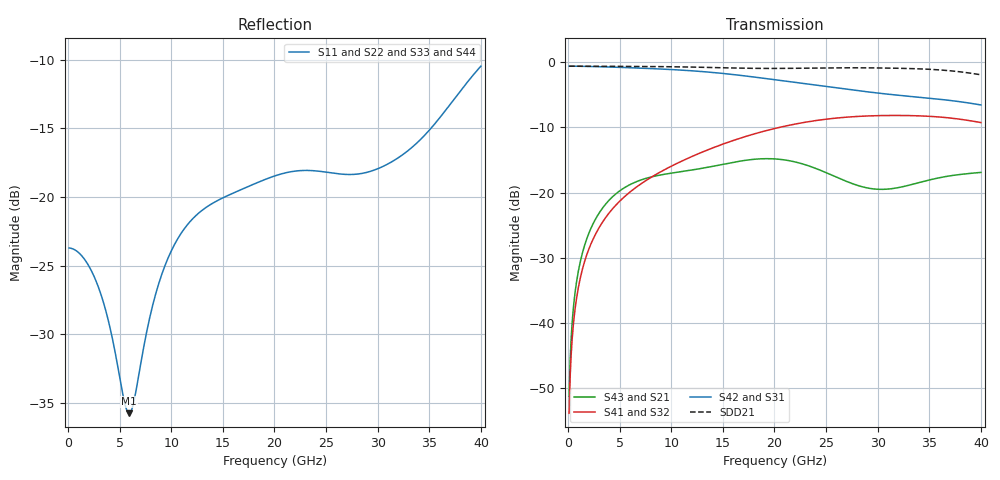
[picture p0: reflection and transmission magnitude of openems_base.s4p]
! E_s8_L1L8_p800_round_g2: pair L1→L8, pitch 0.8 mm, two round antipads, 2 GND vias
! stackup: 8-layer 1.6 mm FR-4 (generic)
! ports: 1 P near, 2 N near, 3 P far, 4 N far
! openEMS 0.37.0, staircase, base mesh (dfine 0.035 mm), 737685 cells
# Hz S RI R 50
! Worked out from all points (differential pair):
!   400 points, 100 MHz to 40 GHz, reference 50 ohm
!   strongest paths, dB at 100 MHz, 10.1 GHz, 20.1 GHz, 30.1 GHz, 40 GHz:
!     S42: -0.6, -1.1, -2.7, -4.7, -6.5
!     S31: -0.6, -1.1, -2.7, -4.7, -6.5
!     S41: -53.9, -15.9, -10.1, -8.2, -9.3
!     S32: -53.9, -15.9, -10.1, -8.2, -9.3
!     S43: -51.3, -17.0, -14.8, -19.5, -16.9
!     S21: -51.3, -17.0, -14.8, -19.5, -16.9
!   taken as a pair (ports 2,1 in; 4,3 out), SDD21 dB: -0.6, -0.7, -0.9, -0.9, -1.9
!   lowest |S11| = -35.8 dB at 5.9 GHz (marker M1), VSWR 1.03, Z = 48.8 + j1.1 ohm
!   |S11| at or under -10 dB: start of sweep to end of sweep
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1e8  -0.0651 0.00217  0.00109 0.00249  0.9336 -0.0363  0.000613 -0.00192
     0.00109 0.00249  -0.0651 0.00217  0.000613 -0.00192  0.9336 -0.0363
     0.9336 -0.0363  0.000614 -0.00192  -0.0651 0.00217  0.00109 0.00249
     0.000614 -0.00192  0.9336 -0.0363  0.00109 0.00249  -0.0651 0.00217
5.9e9  -0.0117 0.0112  0.077 -0.084  -0.5898 -0.6924  -0.0645 0.0757
       0.077 -0.084  -0.0117 0.0112  -0.0645 0.0757  -0.5898 -0.6924
       -0.5898 -0.6924  -0.0645 0.0757  -0.0117 0.0112  0.077 -0.084
       -0.0645 0.0757  -0.5898 -0.6924  0.077 -0.084  -0.0117 0.0112
1.2e10  0.0134 0.0816  -0.148 0.0153  -0.0768 0.8575  0.1876 -0.0231
        -0.148 0.0153  0.0134 0.0816  0.1876 -0.0231  -0.0768 0.8575
        -0.0768 0.8575  0.1876 -0.0231  0.0134 0.0816  -0.148 0.0153
        0.1876 -0.0231  -0.0768 0.8575  -0.148 0.0153  0.0134 0.0816
1.99e10  -0.0336 -0.1141  0.1814 -0.00217  0.1496 -0.7224  -0.3042 0.052
         0.1814 -0.00217  -0.0336 -0.1141  -0.3042 0.052  0.1496 -0.7224
         0.1496 -0.7224  -0.3042 0.052  -0.0336 -0.1141  0.1814 -0.00217
         -0.3042 0.052  0.1496 -0.7224  0.1814 -0.00217  -0.0336 -0.1141
2.84e10  -0.024 0.1193  -0.1033 0.0413  -0.0994 0.5932  0.3229 -0.2103
         -0.1033 0.0413  -0.024 0.1193  0.3229 -0.2103  -0.0994 0.5932
         -0.0994 0.5932  0.3229 -0.2103  -0.024 0.1193  -0.1033 0.0413
         0.3229 -0.2103  -0.0994 0.5932  -0.1033 0.0413  -0.024 0.1193
3.33e10  0.1286 0.0799  0.1067 0.0435  0.5438 -0.0467  -0.3395 -0.191
         0.1067 0.0435  0.1286 0.0799  -0.3395 -0.191  0.5438 -0.0467
         0.5438 -0.0467  -0.3395 -0.191  0.1286 0.0799  0.1067 0.0435
         -0.3395 -0.191  0.5438 -0.0467  0.1067 0.0435  0.1286 0.0799
4e10  0.0259 -0.2988  -0.1383 -0.0351  -0.4159 -0.2202  0.2281 0.2584
      -0.1383 -0.0351  0.0259 -0.2988  0.2281 0.2584  -0.4159 -0.2202
      -0.4159 -0.2202  0.2281 0.2584  0.0259 -0.2988  -0.1383 -0.0351
      0.2281 0.2584  -0.4159 -0.2202  -0.1383 -0.0351  0.0259 -0.2988
